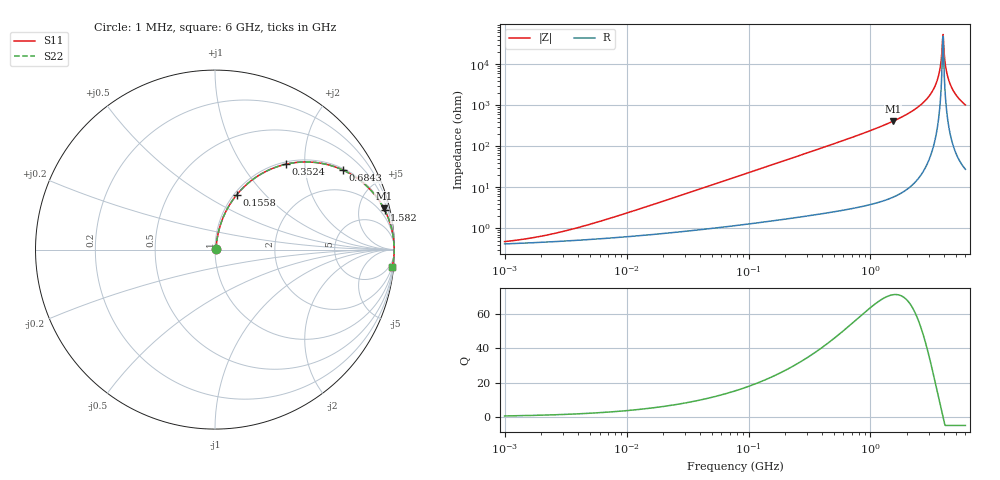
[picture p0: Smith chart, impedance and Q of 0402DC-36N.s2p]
# MHz  S  MA  R  50
!Freq  MagS11  AngS11  MagS21  AngS21  MagS12  AngS12  MagS22  AngS22
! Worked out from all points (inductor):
!   801 points, 1 MHz to 6 GHz, reference 50 ohm
!   read as one part in series: L = 36 nH near 7.818 MHz
!   highest Q = 71.3 at 1.531 GHz (marker M1), where L = 42.4 nH
!   self-resonance near 3.902 GHz
!   S11 on the Smith chart (normalised r, x): 1 MHz: 1.01, +0.00; 155.8 MHz: 1.03, +0.71; 352.4 MHz: 1.04, +1.61; 684.3 MHz: 1.06, +3.19; 1.582 GHz: 1.12, +8.54; 6 GHz: 2, -20
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1  0.004707 28.5  0.9959 -0.1  0.9959 -0.1  0.004707 28.5
4.297353  0.01095 61.4  0.9948 -0.6  0.9948 -0.6  0.01095 61.4
18.2674  0.04162 77.7  0.992 -2.3  0.992 -2.3  0.04162 77.7
77.65193  0.1715 76.4  0.974 -9.9  0.974 -9.9  0.1715 76.4
155.8033  0.3287 68.4  0.9305 -19.2  0.9305 -19.2  0.3287 68.4
333.6978  0.5975 51.8  0.7857 -36.7  0.7857 -36.7  0.5975 51.8
352.3548  0.6185 50.3  0.7695 -38.2  0.7695 -38.2  0.6185 50.3
684.2714  0.8405 31.8  0.5265 -57.2  0.5265 -57.2  0.8405 31.8
1418.499  0.9617 15.1  0.2607 -74.1  0.2607 -74.1  0.9617 15.1
1530.758  0.9681 13.7  0.2372 -75.5  0.2372 -75.5  0.9681 13.7
1581.549  0.9706 13.1  0.2274 -76.1  0.2274 -76.1  0.9706 13.1
2365.494  0.991 6.8  0.1182 -82.3  0.1182 -82.3  0.991 6.8
3071.361  0.9968 3.2  0.05592 -85.1  0.05592 -85.1  0.9968 3.2
3499.738  0.998 1.5  0.0262 -84.9  0.0262 -84.9  0.998 1.5
3655.418  0.9982 0.9  0.01643 -83.3  0.01643 -83.3  0.9982 0.9
3818.023  0.9983 0.4  0.006771 -75.3  0.006771 -75.3  0.9983 0.4
3944.706  0.9983 -0.0  0.001868 24.3  0.001868 24.3  0.9983 -0.0
4075.593  0.9982 -0.5  0.008282 77.5  0.008282 77.5  0.9982 -0.5
4303.46  0.998 -1.2  0.02041 83.8  0.02041 83.8  0.998 -1.2
4544.066  0.9976 -1.9  0.03267 84.8  0.03267 84.8  0.9976 -1.9
5121.814  0.9961 -3.4  0.05999 84.5  0.05999 84.5  0.9961 -3.4
6000  0.9926 -5.6  0.09725 82.9  0.09725 82.9  0.9926 -5.6
